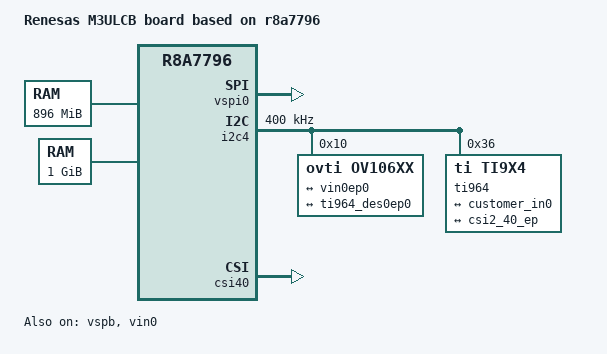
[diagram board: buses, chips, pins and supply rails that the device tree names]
/*
 * Device Tree Source for the M3ULCB (R-Car Starter Kit Pro) board
 *
 * Copyright (C) 2016-2018 Renesas Electronics Corp.
 * Copyright (C) 2016 Cogent Embedded, Inc.
 *
 * This file is licensed under the terms of the GNU General Public License
 * version 2.  This program is licensed "as is" without any warranty of any
 * kind, whether express or implied.
 */

/dts-v1/;
#include "r8a7796.dtsi"
#include "ulcb.dtsi"

/ {
	model = "Renesas M3ULCB board based on r8a7796";
	compatible = "renesas,m3ulcb", "renesas,r8a7796";

	cpus {
		idle-states {
			/delete-node/ cpu-sleep-1;
		};
	};

	memory@48000000 {
		device_type = "memory";
		/* first 128MB is reserved for secure area. */
		reg = <0x0 0x48000000 0x0 0x38000000>;
	};

	memory@600000000 {
		device_type = "memory";
		reg = <0x6 0x00000000 0x0 0x40000000>;
	};

	reserved-memory {
		#address-cells = <2>;
		#size-cells = <2>;
		ranges;

		/* device specific region for Lossy Decompression */
		lossy_decompress: linux,lossy_decompress {
			no-map;
			reg = <0x00000000 0x54000000 0x0 0x03000000>;
		};

		/* global autoconfigured region for contiguous allocations */
		linux,cma {
			compatible = "shared-dma-pool";
			reusable;
			reg = <0x00000000 0x57000000 0x0 0x19000000>;
			linux,cma-default;
		};

		/* device specific region for contiguous allocations */
		mmp_reserved: linux,multimedia {
			compatible = "shared-dma-pool";
			reusable;
			reg = <0x00000000 0x70000000 0x0 0x10000000>;
		};
	};

	mmngr {
		compatible = "renesas,mmngr";
		memory-region = <&mmp_reserved>, <&lossy_decompress>;
	};

	mmngrbuf {
		compatible = "renesas,mmngrbuf";
	};

	vspm_if {
		compatible = "renesas,vspm_if";
	};

	versaclock5_out3: versaclk-3 {
		compatible = "fixed-clock";
		#clock-cells = <0>;
		/* Initial value of versaclock out3 */
		clock-frequency = <33000000>;
	};
};

&a53_0 {
	/delete-property/ cpu-idle-states;
};

&a53_1 {
	/delete-property/ cpu-idle-states;
};

&a53_2 {
	/delete-property/ cpu-idle-states;
};

&a53_3 {
	/delete-property/ cpu-idle-states;
};

&du {
	clocks = <&cpg CPG_MOD 724>,
		 <&cpg CPG_MOD 723>,
		 <&cpg CPG_MOD 722>,
		 <&cpg CPG_MOD 727>,
		 <&versaclock5 1>,
		 <&versaclock5_out3>,
		 <&versaclock5 2>;
	clock-names = "du.0", "du.1", "du.2", "lvds.0",
		      "dclkin.0", "dclkin.1", "dclkin.2";
};

&vspb {
	status = "okay";
};

&vspi0 {
	status = "okay";
};


&i2c4 {
	status = "okay";
	clock-frequency = <400000>;

	ov106xx@0 {
		compatible = "ovti,ov106xx";
		reg = <0x10>;

		port@0 {
			customer_in0: endpoint {
				clock-lanes = <0>;
				data-lanes = <1 2 3 4>;
				remote-endpoint = <&vin0ep0>;
			};
		};
		port@1 {
			ov106xx_ti964_des0ep0: endpoint@1 {
				remote-endpoint = <&ti964_des0ep0>;
			};
		};
	};

//	ov106xx@1 {
//		compatible = "ovti,ov106xx";
//		reg = <0x61>;
//
//		port@0 {
//			customer_in1: endpoint {
//				clock-lanes = <0>;
//				data-lanes = <1 2 3 4>;
//				remote-endpoint = <&vin1ep0>;
//			};
//		};
//		port@1 {
//			ov106xx_ti964_des0ep1: endpoint@1 {
//				remote-endpoint = <&ti964_des0ep1>;
//			};
//		};
//	};
//
//	ov106xx@2 {
//		compatible = "ovti,ov106xx";
//		reg = <0x62>;
//
//		port@0 {
//			customer_in2: endpoint {
//				clock-lanes = <0>;
//				data-lanes = <1 2 3 4>;
//				remote-endpoint = <&vin2ep0>;
//			};
//		};
//		port@1 {
//			ov106xx_ti964_des0ep2: endpoint@1 {
//				remote-endpoint = <&ti964_des0ep2>;
//			};
//		};
//	};
//
//	ov106xx@3 {
//		compatible = "ovti,ov106xx";
//		reg = <0x63>;
//
//		port@0 {
//			customer_in3: endpoint {
//				clock-lanes = <0>;
//				data-lanes = <1 2 3 4>;
//				remote-endpoint = <&vin3ep0>;
//			};
//		};
//		port@1 {
//			ov106xx_ti964_des0ep3: endpoint@1 {
//				remote-endpoint = <&ti964_des0ep3>;
//			};
//		};
//	};


	/* DS90UB9x4 @ 0x3a */
	ti964@0 {
		compatible = "ti,ti9x4";
		reg = <0x36>;
		ti,links = <4>;
		ti,lanes = <4>;
		ti,forwarding-mode = "round-robin";
		ti,cable-mode = "coax";
        ti,ser_id = <0x30>;
        ti,hsync = <1280>;
        ti,vsync = <720>;

//		POC0-gpios = <&gpio_exp_a_5c 8 GPIO_ACTIVE_HIGH>;
//		POC1-gpios = <&gpio_exp_a_5c 9 GPIO_ACTIVE_HIGH>;
//		POC2-gpios = <&gpio_exp_a_5c 10 GPIO_ACTIVE_HIGH>;
//		POC3-gpios = <&gpio_exp_a_5c 11 GPIO_ACTIVE_HIGH>;

		port@0 {
			ti964_des0ep0: endpoint@0 {
				ti9x3-addr = <0x0c>;
				dvp-order = <0>;
				remote-endpoint = <&customer_in0>;
			};
//			ti964_des0ep1: endpoint@1 {
//				ti9x3-addr = <0x0d>;
//				dvp-order = <0>;
//				remote-endpoint = <&customer_in1>;
//			};
//			ti964_des0ep2: endpoint@2 {
//				ti9x3-addr = <0x0e>;
//				dvp-order = <0>;
//				remote-endpoint = <&customer_in2>;
//			};
//			ti964_des0ep3: endpoint@3 {
//				ti9x3-addr = <0x0f>;
//				dvp-order = <0>;
//				remote-endpoint = <&customer_in3>;
//			};
		};
		port@1 {
			ti964_csi0ep0: endpoint {
//				csi-rate = <1450>;
				remote-endpoint = <&csi2_40_ep>;
			};
		};
	};
};

&csi40 {
	status = "okay";

	virtual,channel {
		csi2_vc0 {
			data,type = "ycbcr422";
			receive,vc = <0>;
		};
//		csi2_vc1 {
//			data,type = "ycbcr422";
//			receive,vc = <1>;
//		};
//		csi2_vc2 {
//			data,type = "ycbcr422";
//			receive,vc = <2>;
//		};
//		csi2_vc3 {
//			data,type = "ycbcr422";
//			receive,vc = <3>;
//		};
	};

	port {
		#address-cells = <1>;
		#size-cells = <0>;

		csi2_40_ep: endpoint {
			clock-lanes = <0>;
			data-lanes = <1 2 3 4>;
			csi-rate = <600>;
//			csi-rate = <300>;
		};
	};
};

&vin0 {
	status = "okay";

	ports {
		#address-cells = <1>;
		#size-cells = <0>;

		port@0 {
			vin0ep0: endpoint {
				csi,select = "csi40";
				virtual,channel = <0>;
				data-lanes = <1 2 3 4>;
				remote-endpoint = <&customer_in0>;
			};
		};
		port@1 {
			csi0ep0: endpoint {
				remote-endpoint = <&csi2_40_ep>;
			};
		};
		port@2 {
			vin0_ti964_des0ep0: endpoint@1 {
				remote-endpoint = <&ti964_des0ep0>;
			};
		};
	};
};

//&vin1 {
//	status = "okay";
//
//	ports {
//		#address-cells = <1>;
//		#size-cells = <0>;
//
//		port@0 {
//			vin1ep0: endpoint {
//				csi,select = "csi40";
//				virtual,channel = <1>;
//				data-lanes = <1 2 3 4>;
//				remote-endpoint = <&customer_in1>;
//			};
//		};
//		port@1 {
//			csi0ep1: endpoint {
//				remote-endpoint = <&csi2_40_ep>;
//			};
//		};
//		port@2 {
//			vin1_ti964_des0ep1: endpoint@1 {
//				remote-endpoint = <&ti964_des0ep1>;
//			};
//		};
//	};
//};

//&vin2 {
//	status = "okay";
//
//	ports {
//		#address-cells = <1>;
//		#size-cells = <0>;
//
//		port@0 {
//			vin2ep0: endpoint {
//				csi,select = "csi40";
//				virtual,channel = <2>;
//				data-lanes = <1 2 3 4>;
//				remote-endpoint = <&customer_in2>;
//			};
//		};
//		port@1 {
//			csi0ep2: endpoint {
//				remote-endpoint = <&csi2_40_ep>;
//			};
//		};
//		port@2 {
//			vin2_ti964_des0ep2: endpoint@1 {
//				remote-endpoint = <&ti964_des0ep2>;
//			};
//		};
//	};
//};

//&vin3 {
//	status = "okay";
//
//	ports {
//		#address-cells = <1>;
//		#size-cells = <0>;
//
//		port@0 {
//			vin3ep0: endpoint {
//				csi,select = "csi40";
//				virtual,channel = <3>;
//				data-lanes = <1 2 3 4>;
//				remote-endpoint = <&customer_in3>;
//			};
//		};
//		port@1 {
//			csi0ep3: endpoint {
//				remote-endpoint = <&csi2_40_ep>;
//			};
//		};
//		port@2 {
//			vin3_ti964_des0ep3: endpoint@1 {
//				remote-endpoint = <&ti964_des0ep3>;
//			};
//		};
//	};
//};
